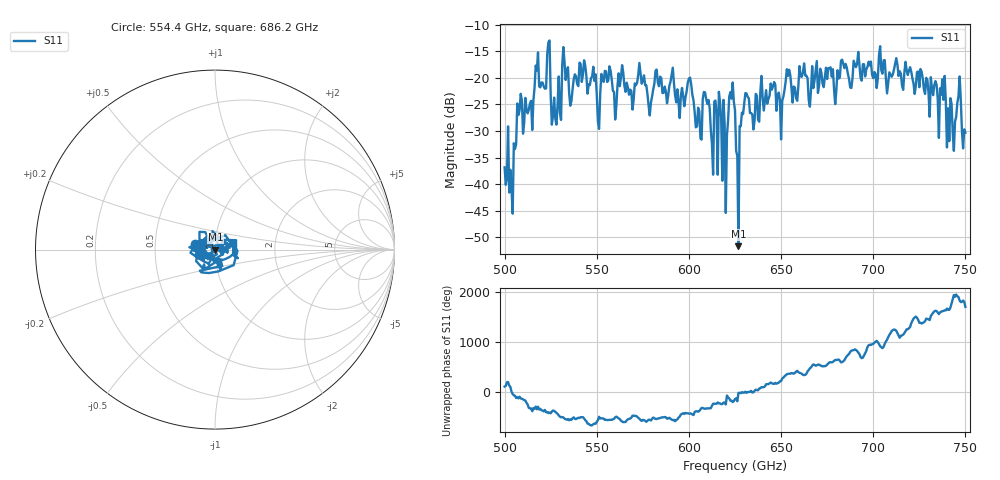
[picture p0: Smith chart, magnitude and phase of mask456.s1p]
!Created with skrf (http://scikit-rf.org).
# GHz S MA R 50.0
!freq magS11 angS11
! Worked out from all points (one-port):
!   401 points, 500 GHz to 750 GHz, reference 50 ohm
!   lowest |S11| = -51.7 dB at 626.9 GHz (marker M1), VSWR 1.01, Z = 50.3 - j0.0745 ohm
!   |S11| at or under -10 dB: start of sweep to end of sweep
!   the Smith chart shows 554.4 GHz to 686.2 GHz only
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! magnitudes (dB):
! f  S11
! 500 GHz  -36.8
! 503.8 GHz  -41.0
! 508.1 GHz  -26.1
! 513.8 GHz  -24.8
! 517.5 GHz  -18.6
! 523.8 GHz  -13.3
! 526.9 GHz  -23.7
! 531.2 GHz  -17.7
! 548.1 GHz  -17.9
! 550.6 GHz  -28.2
! 562.5 GHz  -21.6
! 593.8 GHz  -22.2
! 600.6 GHz  -20.0
! 605.6 GHz  -26.3
! 609.4 GHz  -24.0
! 619.4 GHz  -28.6
! 623.1 GHz  -23.9
! 625 GHz  -26.0
! 626.9 GHz  -51.7
! 631.2 GHz  -22.9
! 634.4 GHz  -26.9
! 656.2 GHz  -24.7
! 687.5 GHz  -21.8
! 718.8 GHz  -19.5
! 737.5 GHz  -20.3
! 742.5 GHz  -24.9
! 746.2 GHz  -23.5
! 750 GHz  -30.3
